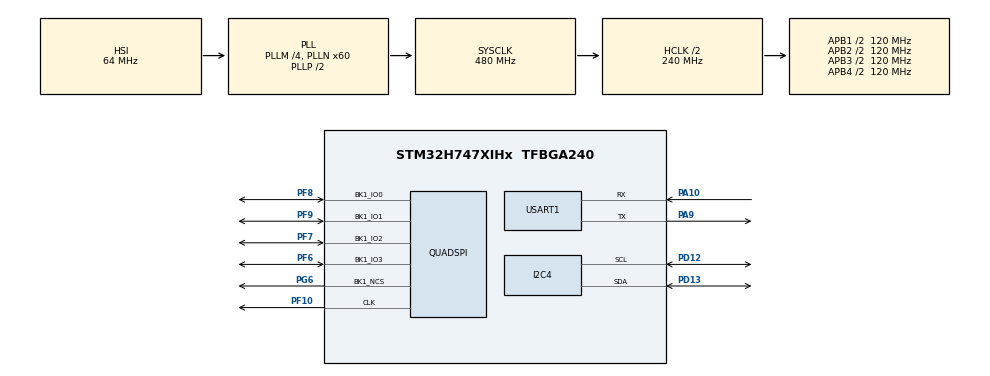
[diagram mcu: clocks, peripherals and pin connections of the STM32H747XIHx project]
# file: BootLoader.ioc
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CORTEX_M7.default_mode_Activation=1
CortexM4.IPs=CORTEX_M4\:I,FATFS_M4\:I,FREERTOS_M4\:I,IWDG2\:I,OPENAMP_M4\:I,PDM2PCM_M4\:I,PWR,RCC,RESMGR_UTILITY,SYS_M4\:I,USB_DEVICE_M4\:I,USB_HOST_M4\:I,VREFBUF,WWDG2\:I,GPIO,DMA,BDMA,MDMA,NVIC2\:I
CortexM7.IPs=CORTEX_M7\:I,FATFS_M7\:I,FREERTOS_M7\:I,IWDG1\:I,OPENAMP_M7\:I,PDM2PCM_M7\:I,PWR\:I,RCC\:I,RESMGR_UTILITY\:I,SYS\:I,USB_DEVICE_M7\:I,USB_HOST_M7\:I,VREFBUF\:I,WWDG1\:I,GPIO\:I,DMA\:I,BDMA\:I,MDMA\:I,NVIC1\:I,DEBUG\:I,USART1\:I,I2C4\:I,CRC\:I,QUADSPI\:I,MEMORYMAP\:I
I2C4.Timing=0x307075B1
Mcu.Family=STM32H7
Mcu.Name=STM32H747XIHx
Mcu.Package=TFBGA240
NVIC1.PriorityGroup=NVIC_PRIORITYGROUP_4
NVIC2.PriorityGroup=NVIC_PRIORITYGROUP_4
PA10.Mode=Asynchronous
PA10.PinAttribute=CortexM7
PA10.Signal=USART1_RX
PA13\ (JTMS/SWDIO).Mode=Serial_Wire
PA13\ (JTMS/SWDIO).PinAttribute=CortexM7
PA13\ (JTMS/SWDIO).Signal=DEBUG_JTMS-SWDIO
PA14\ (JTCK/SWCLK).Mode=Serial_Wire
PA14\ (JTCK/SWCLK).PinAttribute=CortexM7
PA14\ (JTCK/SWCLK).Signal=DEBUG_JTCK-SWCLK
PA9.Mode=Asynchronous
PA9.PinAttribute=CortexM7
PA9.Signal=USART1_TX
PC14-OSC32_IN\ (OSC32_IN).Mode=LSE-External-Oscillator
PC14-OSC32_IN\ (OSC32_IN).PinAttribute=Free
PC14-OSC32_IN\ (OSC32_IN).Signal=RCC_OSC32_IN
PC15-OSC32_OUT\ (OSC32_OUT).Mode=LSE-External-Oscillator
PC15-OSC32_OUT\ (OSC32_OUT).PinAttribute=Free
PC15-OSC32_OUT\ (OSC32_OUT).Signal=RCC_OSC32_OUT
PD12.Mode=I2C
PD12.PinAttribute=CortexM7
PD12.Signal=I2C4_SCL
PD13.Mode=I2C
PD13.PinAttribute=CortexM7
PD13.Signal=I2C4_SDA
PF10.GPIO_Speed=GPIO_SPEED_FREQ_VERY_HIGH
PF10.Mode=Single Bank 1
PF10.PinAttribute=CortexM7
PF10.Signal=QUADSPI_CLK
PF6.GPIO_Speed=GPIO_SPEED_FREQ_VERY_HIGH
PF6.Mode=Single Bank 1
PF6.PinAttribute=CortexM7
PF6.Signal=QUADSPI_BK1_IO3
PF7.GPIO_Speed=GPIO_SPEED_FREQ_VERY_HIGH
PF7.Mode=Single Bank 1
PF7.PinAttribute=CortexM7
PF7.Signal=QUADSPI_BK1_IO2
PF8.GPIO_Speed=GPIO_SPEED_FREQ_VERY_HIGH
PF8.Mode=Single Bank 1
PF8.PinAttribute=CortexM7
PF8.Signal=QUADSPI_BK1_IO0
PF9.GPIO_Speed=GPIO_SPEED_FREQ_VERY_HIGH
PF9.Mode=Single Bank 1
PF9.PinAttribute=CortexM7
PF9.Signal=QUADSPI_BK1_IO1
PG6.GPIO_Speed=GPIO_SPEED_FREQ_VERY_HIGH
PG6.Mode=Single Bank 1
PG6.PinAttribute=CortexM7
PG6.Signal=QUADSPI_BK1_NCS
PH0-OSC_IN\ (PH0).Mode=HSE-External-Oscillator
PH0-OSC_IN\ (PH0).PinAttribute=Free
PH0-OSC_IN\ (PH0).Signal=RCC_OSC_IN
PH1-OSC_OUT\ (PH1).Mode=HSE-External-Oscillator
PH1-OSC_OUT\ (PH1).PinAttribute=Free
PH1-OSC_OUT\ (PH1).Signal=RCC_OSC_OUT
ProjectManager.HeapSize=M4-0x200,M7-0x200
ProjectManager.StackSize=M4-0x400,M7-0x400
ProjectManager.TargetToolchain=CMake
QUADSPI.ClockPrescaler=4
QUADSPI.FlashSize=24
RCC.ADCFreq_Value=129000000
RCC.APB1Freq_Value=120000000
RCC.APB2Freq_Value=120000000
RCC.APB3Freq_Value=120000000
RCC.APB4Freq_Value=120000000
RCC.CortexFreq_Value=480000000
RCC.D1PPRE=RCC_APB3_DIV2
RCC.D2PPRE1=RCC_APB1_DIV2
RCC.D2PPRE2=RCC_APB2_DIV2
RCC.D3PPRE=RCC_APB4_DIV2
RCC.DIVM1=4
RCC.DIVN1=60
RCC.HCLKFreq_Value=240000000
RCC.HPRE=RCC_HCLK_DIV2
RCC.PLL2FRACN=0
RCC.PLL3FRACN=0
RCC.PLLFRACN=0
RCC.SYSCLKFreq_VALUE=480000000
RCC.SYSCLKSource=RCC_SYSCLKSOURCE_PLLCLK
RCC.USBFreq_Value=480000000
SYS.userName=SYS_M7
USART1.VirtualMode-Asynchronous=VM_ASYNC
VP_CRC_VS_CRC.Mode=CRC_Activate
VP_MEMORYMAP_VS_MEMORYMAP.Mode=CurAppReg
VP_SYS_M4_VS_Systick.Mode=SysTick
board=custom

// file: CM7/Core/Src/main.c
/* USER CODE BEGIN Header */
/**
  ******************************************************************************
  * @file           : main.c
  * @brief          : Main program body
  ******************************************************************************
  * @attention
  *
  * Copyright (c) 2026 STMicroelectronics.
  * All rights reserved.
  *
  * This software is licensed under terms that can be found in the LICENSE file
  * in the root directory of this software component.
  * If no LICENSE file comes with this software, it is provided AS-IS.
  *
  ******************************************************************************
  */
/* USER CODE END Header */
#include "main.h"
#include "crc.h"
#include "i2c.h"
#include "quadspi.h"
#include "usart.h"
#include "gpio.h"
#include <stdarg.h>
#include <stdio.h>

/* USER CODE BEGIN Includes */

#include "bl24c16f.h"
#include "boot_options.h"
#include "boot_ota.h"
#include "crc32.h"
#include "ota_layout.h"
#include "ota_metadata.h"
#include "qspi_flash.h"

/* USER CODE END Includes */

/* USER CODE BEGIN PD */

#define APP_BASE_ADDRESS  OTA_INTERNAL_CM7_BASE
#define APP_END_ADDRESS   (OTA_INTERNAL_CM7_BASE + OTA_INTERNAL_CM7_SIZE)
#define APP_SRAM_START    0x20000000U
#define APP_SRAM_END      0x20020000U

/* USER CODE END PD */

void SystemClock_Config(void);
static void MPU_Config(void);
/* USER CODE BEGIN PFP */

static void BootLoader_Printf(const char *format, ...);
static uint8_t BootLoader_ApplicationValid(void);
static void BootLoader_JumpToApplication(void);

/* USER CODE END PFP */

/* USER CODE BEGIN 0 */

typedef void (*app_entry_t)(void);

static void BootLoader_Printf(const char *format, ...)
{
  char buffer[128];
  va_list args;
  int length;

  va_start(args, format);
  length = vsnprintf(buffer, sizeof(buffer), format, args);
  va_end(args);

  if (length > 0)
  {
    uint16_t send_length = (length < (int)sizeof(buffer))
                         ? (uint16_t)length
                         : (uint16_t)(sizeof(buffer) - 1U);

    (void)HAL_UART_Transmit(&huart1, (uint8_t *)buffer, send_length, 200U);
  }
}

// 返回值为1的时候表示应用程序入口看起来有效，可以跳转。
static uint8_t BootLoader_ApplicationValid(void)
{
  uint32_t app_stack = *(volatile uint32_t *)APP_BASE_ADDRESS;
  uint32_t app_reset = *(volatile uint32_t *)(APP_BASE_ADDRESS + 4U);

  return ((app_stack >= APP_SRAM_START) &&
          (app_stack <= APP_SRAM_END) &&
          ((app_stack & 0x7U) == 0U) &&
          (app_reset >= APP_BASE_ADDRESS) &&
          (app_reset < APP_END_ADDRESS) &&
          ((app_reset & 0x1U) != 0U)) ? 1U : 0U;
}

// BootLoader跳转到App程序
static void BootLoader_JumpToApplication(void)
{
  uint32_t app_stack = *(volatile uint32_t *)APP_BASE_ADDRESS;        // 栈顶地址
  uint32_t app_reset = *(volatile uint32_t *)(APP_BASE_ADDRESS + 4U); // 复位入口

  if (BootLoader_ApplicationValid() == 0U)
  {
    while (1)
    {
    }
  }
  __disable_irq();

  HAL_QSPI_DeInit(&hqspi);
  HAL_I2C_DeInit(&hi2c4);
  HAL_UART_DeInit(&huart1);

  SysTick->CTRL = 0U;
  SysTick->LOAD = 0U;
  SysTick->VAL = 0U;
  //遍历NVIC所有寄存器
  for (uint32_t i = 0U; i < 8U; i++)
  {
    NVIC->ICER[i] = 0xFFFFFFFFU;          // 关闭所有外部中断
    NVIC->ICPR[i] = 0xFFFFFFFFU;          // 清除所有挂起中断标志位
  }

  SCB->VTOR = APP_BASE_ADDRESS;
  __DSB();
  __ISB();

  __set_MSP(app_stack);
  __enable_irq();
  ((app_entry_t)app_reset)();
}

/* USER CODE END 0 */

int main(void)
{

  /* MPU Configuration--------------------------------------------------------*/
  MPU_Config();

  /* MCU Configuration--------------------------------------------------------*/

  /* Reset of all peripherals, Initializes the Flash interface and the Systick. */
  HAL_Init();

  /* Configure the system clock */
  SystemClock_Config();

  /* Initialize all configured peripherals */
  MX_GPIO_Init();
  MX_CRC_Init();
  MX_I2C4_Init();
  MX_QUADSPI_Init();
  MX_USART1_UART_Init();
  /* USER CODE BEGIN 2 */

  {
    BootOptions_CM4Info cm4_options = {0};
    BootOptions_Result options_result;

    if (BootLoader_ApplicationValid() == 0U)
    {
      BootLoader_Printf("[BL] skip BCM4 update: CM7 application invalid\r\n");
      options_result = BOOT_OPTIONS_ALREADY_DISABLED;
    }
    else
    {
      if (BootOptions_GetCM4Info(&cm4_options) != HAL_OK)
      {
        BootLoader_Printf("[BL] read CM4 options FAILED\r\n");
        while (1)
        {
        }
      }

      BootLoader_Printf("[BL] CM4 boot: BCM4=%u, addr=0x%08lX\r\n",
                        (unsigned int)cm4_options.bcm4_enabled,
                        (unsigned long)cm4_options.cm4_boot_addr0);

      /*
       * 首次从 BCM4=1 迁移到 0 时，旧 VALID 包可能不含阶段六启动代码。
       * 将其改回 PENDING，防止新 BootLoader 自动安装旧包或覆盖新应用。
       */
      if (cm4_options.bcm4_enabled != 0U)
      {
        OTA_Metadata metadata;
        uint8_t found = 0U;

        if (OTA_Metadata_Load(&metadata, &found) != HAL_OK)
        {
          BootLoader_Printf("[BL] migration metadata load FAILED\r\n");
          while (1)
          {
          }
        }
        if ((found != 0U) &&
            (metadata.pending_state == OTA_SLOT_STATE_VALID))
        {
          metadata.pending_state = OTA_SLOT_STATE_PENDING;
          metadata.confirmed = 0U;
          metadata.boot_attempts = 0U;
          if (OTA_Metadata_Commit(&metadata) != HAL_OK)
          {
            BootLoader_Printf("[BL] migration metadata commit FAILED\r\n");
            while (1)
            {
            }
          }
          BootLoader_Printf("[BL] old VALID package changed to PENDING\r\n");
        }
      }

      options_result = BootOptions_EnsureCM4Held(&cm4_options);
    }

    if (options_result == BOOT_OPTIONS_PROGRAMMED)
    {
      BootLoader_Printf("[BL] BCM4 disabled, reset to apply\r\n");
      HAL_Delay(20U);
      NVIC_SystemReset();
    }
    else if (options_result == BOOT_OPTIONS_BAD_ADDRESS)
    {
      BootLoader_Printf("[BL] CM4 boot address invalid, stay in bootloader\r\n");
      while (1)
      {
      }
    }
    else if (options_result == BOOT_OPTIONS_ERROR)
    {
      BootLoader_Printf("[BL] BCM4 update FAILED, status=%d\r\n",
                        (int)BootOptions_LastStatus());
      while (1)
      {
      }
    }
  }

  BootLoader_Printf("[BL] CRC32 self-test: %s\r\n",
                    (CRC32_SelfTest() == HAL_OK) ? "OK" : "FAILED");

  {
    // 检查外部Flash是否正常
    HAL_StatusTypeDef qspi_status = QSPI_FLASH_Init();

    if (qspi_status == HAL_OK)
    {
      uint32_t jedec_id = 0U;
      uint32_t sample_crc = 0U;

      if ((QSPI_FLASH_ReadJedecId(&jedec_id) == HAL_OK) &&
          (QSPI_FLASH_CalculateCrc32(0U, 256U, &sample_crc) == HAL_OK))
      {
        BootLoader_Printf("[QSPI] JEDEC=0x%06lX, sample CRC=0x%08lX\r\n",
                          (unsigned long)jedec_id,
                          (unsigned long)sample_crc);
      }
      else
      {
        BootLoader_Printf("[QSPI] read/CRC FAILED\r\n");
      }
    }
    else
    {
      BootLoader_Printf("[QSPI] init FAILED\r\n");
    }
  }

  {
    HAL_StatusTypeDef eeprom_status;
    BL24C16F_TestResult test_result;
    uint32_t expected_crc = 0U;
    uint32_t read_crc = 0U;

    BootLoader_Printf("[BL] EEPROM test start\r\n");

    eeprom_status = BL24C16F_Init();
    if (eeprom_status == HAL_OK)
    {
      BootLoader_Printf("[EEPROM] found at 0x%02X\r\n",
                        (unsigned int)BL24C16F_GetAddress());

      test_result = BL24C16F_RunTest(&expected_crc, &read_crc);
      if (test_result == BL24C16F_TEST_WRITE_FAILED)
      {
        BootLoader_Printf("[EEPROM] write FAILED\r\n");
      }
      else
      {
        BootLoader_Printf("[EEPROM] write OK\r\n");

        if (test_result == BL24C16F_TEST_READ_FAILED)
        {
          BootLoader_Printf("[EEPROM] read FAILED\r\n");
        }
        else
        {
          BootLoader_Printf("[EEPROM] read OK\r\n");
          BootLoader_Printf("[EEPROM] CRC expected=0x%08lX read=0x%08lX\r\n",
                            (unsigned long)expected_crc,
                            (unsigned long)read_crc);
          BootLoader_Printf("[EEPROM] CRC %s\r\n",
                            (test_result == BL24C16F_TEST_OK) ? "OK" : "FAILED");
        }
      }
    }
    else
    {
      BootLoader_Printf("[EEPROM] not found on I2C4\r\n");
    }
  }

  /* 启动时先处理 VALID 升级包；安装失败则停留 BootLoader。 */
  {
    BootOTA_Result ota_result = BootOTA_Process();

    if (ota_result == BOOT_OTA_INSTALLED)
    {
      BootLoader_Printf("[BL] OTA install OK, reset to boot new images\r\n");
      HAL_Delay(20U);
      NVIC_SystemReset();
    }
    else if (ota_result == BOOT_OTA_ROLLBACK_QUEUED)
    {
      BootLoader_Printf("[BL] boot attempts reached, rollback queued\r\n");
      HAL_Delay(20U);
      NVIC_SystemReset();
    }
    else if (ota_result == BOOT_OTA_PACKAGE_INVALID)
    {
      BootLoader_Printf("[BL] OTA package invalid (%s, status=%d), boot old application\r\n",
                        BootOTA_LastError(), (int)BootOTA_LastStatus());
    }
    else if (ota_result == BOOT_OTA_FAILED)
    {
      uint32_t flash_bank = 0U;
      uint32_t flash_flags = 0U;

      BootOTA_LastFlashError(&flash_bank, &flash_flags);
      BootLoader_Printf("[BL] OTA install FAILED (%s, status=%d, bank=%lu, flags=0x%08lX)\r\n",
                        BootOTA_LastError(), (int)BootOTA_LastStatus(),
                        (unsigned long)flash_bank,
                        (unsigned long)flash_flags);
      while (1)
      {
      }
    }
    else
    {
      BootLoader_Printf("[BL] no pending OTA package\r\n");
    }
  }

  BootLoader_JumpToApplication();

  /* USER CODE END 2 */

  /* Infinite loop */
  while (1)
  {

  }
}

void SystemClock_Config(void)
{
  RCC_OscInitTypeDef RCC_OscInitStruct = {0};
  RCC_ClkInitTypeDef RCC_ClkInitStruct = {0};

  /** Supply configuration update enable
  */
  HAL_PWREx_ConfigSupply(PWR_LDO_SUPPLY);

  /** Configure the main internal regulator output voltage
  */
  __HAL_PWR_VOLTAGESCALING_CONFIG(PWR_REGULATOR_VOLTAGE_SCALE0);

  while(!__HAL_PWR_GET_FLAG(PWR_FLAG_VOSRDY)) {}

  /** Initializes the RCC Oscillators according to the specified parameters
  * in the RCC_OscInitTypeDef structure.
  */
  RCC_OscInitStruct.OscillatorType = RCC_OSCILLATORTYPE_HSI;
  RCC_OscInitStruct.HSIState = RCC_HSI_DIV1;
  RCC_OscInitStruct.HSICalibrationValue = RCC_HSICALIBRATION_DEFAULT;
  RCC_OscInitStruct.PLL.PLLState = RCC_PLL_ON;
  RCC_OscInitStruct.PLL.PLLSource = RCC_PLLSOURCE_HSI;
  RCC_OscInitStruct.PLL.PLLM = 4;
  RCC_OscInitStruct.PLL.PLLN = 60;
  RCC_OscInitStruct.PLL.PLLP = 2;
  RCC_OscInitStruct.PLL.PLLQ = 2;
  RCC_OscInitStruct.PLL.PLLR = 2;
  RCC_OscInitStruct.PLL.PLLRGE = RCC_PLL1VCIRANGE_3;
  RCC_OscInitStruct.PLL.PLLVCOSEL = RCC_PLL1VCOWIDE;
  RCC_OscInitStruct.PLL.PLLFRACN = 0;
  if (HAL_RCC_OscConfig(&RCC_OscInitStruct) != HAL_OK)
  {
    Error_Handler();
  }

  /** Initializes the CPU, AHB and APB buses clocks
  */
  RCC_ClkInitStruct.ClockType = RCC_CLOCKTYPE_HCLK|RCC_CLOCKTYPE_SYSCLK
                              |RCC_CLOCKTYPE_PCLK1|RCC_CLOCKTYPE_PCLK2
                              |RCC_CLOCKTYPE_D3PCLK1|RCC_CLOCKTYPE_D1PCLK1;
  RCC_ClkInitStruct.SYSCLKSource = RCC_SYSCLKSOURCE_PLLCLK;
  RCC_ClkInitStruct.SYSCLKDivider = RCC_SYSCLK_DIV1;
  RCC_ClkInitStruct.AHBCLKDivider = RCC_HCLK_DIV2;
  RCC_ClkInitStruct.APB3CLKDivider = RCC_APB3_DIV2;
  RCC_ClkInitStruct.APB1CLKDivider = RCC_APB1_DIV2;
  RCC_ClkInitStruct.APB2CLKDivider = RCC_APB2_DIV2;
  RCC_ClkInitStruct.APB4CLKDivider = RCC_APB4_DIV2;

  if (HAL_RCC_ClockConfig(&RCC_ClkInitStruct, FLASH_LATENCY_4) != HAL_OK)
  {
    Error_Handler();
  }
}

 /* MPU Configuration */

void MPU_Config(void)
{
  MPU_Region_InitTypeDef MPU_InitStruct = {0};

  /* Disables the MPU */
  HAL_MPU_Disable();

  /** Initializes and configures the Region and the memory to be protected
  */
  MPU_InitStruct.Enable = MPU_REGION_ENABLE;
  MPU_InitStruct.Number = MPU_REGION_NUMBER0;
  MPU_InitStruct.BaseAddress = 0x0;
  MPU_InitStruct.Size = MPU_REGION_SIZE_4GB;
  MPU_InitStruct.SubRegionDisable = 0x87;
  MPU_InitStruct.TypeExtField = MPU_TEX_LEVEL0;
  MPU_InitStruct.AccessPermission = MPU_REGION_NO_ACCESS;
  MPU_InitStruct.DisableExec = MPU_INSTRUCTION_ACCESS_DISABLE;
  MPU_InitStruct.IsShareable = MPU_ACCESS_SHAREABLE;
  MPU_InitStruct.IsCacheable = MPU_ACCESS_NOT_CACHEABLE;
  MPU_InitStruct.IsBufferable = MPU_ACCESS_NOT_BUFFERABLE;

  HAL_MPU_ConfigRegion(&MPU_InitStruct);
  /* Enables the MPU */
  HAL_MPU_Enable(MPU_PRIVILEGED_DEFAULT);

}

void Error_Handler(void)
{
  __disable_irq();
  while (1)
  {
  }
}
